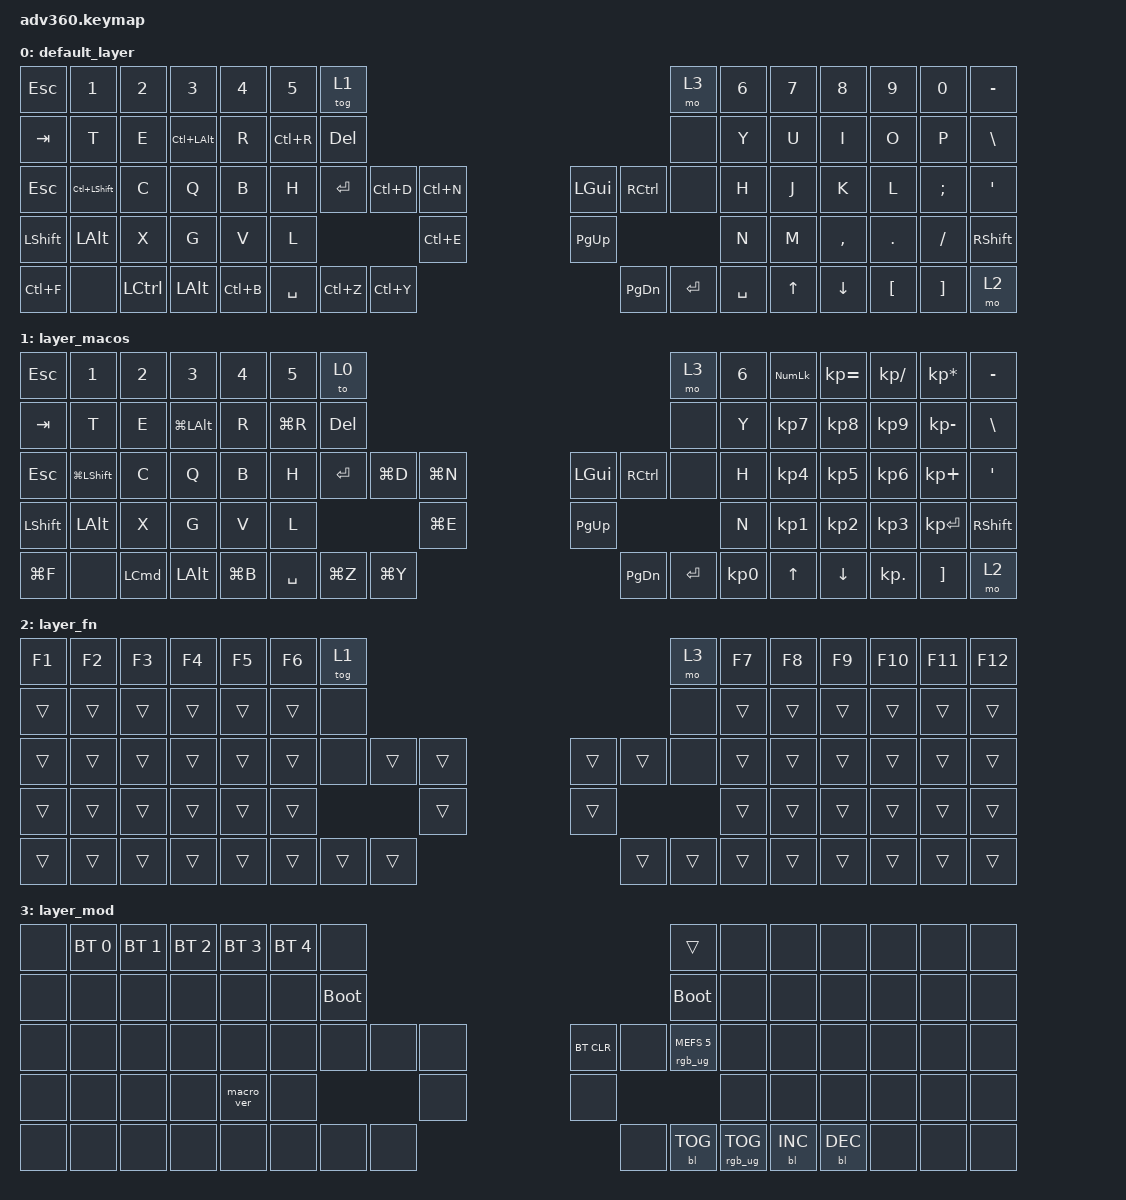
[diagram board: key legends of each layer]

/*
 * Copyright (c) 2020 The ZMK Contributors
 *
 * SPDX-License-Identifier: MIT
 */


/* THIS FILE WAS GENERATED!
 *
 * This file was generated automatically. You may or may not want to
 * edit it directly.
 */

#include <behaviors.dtsi>
#include <dt-bindings/zmk/keys.h>
#include <dt-bindings/zmk/bt.h>
#include <dt-bindings/zmk/rgb.h>
#include <dt-bindings/zmk/backlight.h>

/ {
  behaviors {
    #include "macros.dtsi"
    #include "version.dtsi"

    hm: homerow_mods {
        compatible = "zmk,behavior-hold-tap";
        label = "HOMEROW_MODS";
        #binding-cells = <2>;
        tapping-term-ms = <200>;
        quick_tap_ms = <175>;
        flavor = "tap-preferred";
        bindings = <&kp>, <&kp>;
    };
  };

    keymap {
        compatible = "zmk,keymap";


        default_layer {
            bindings = <
   &kp ESC             &kp N1     &kp N2           &kp N3            &kp N4             &kp N5               &tog 1                                                                                      &mo 3  &kp N6  &kp N7     &kp N8    &kp N9    &kp N0  &kp MINUS
   &kp TAB              &kp T      &kp E     &kp LC(LALT)             &kp R          &kp LC(R)              &kp DEL                                                                                      &none   &kp Y   &kp U      &kp I     &kp O     &kp P   &kp BSLH
   &kp ESC     &kp LC(LSHIFT)      &kp C            &kp Q             &kp B              &kp H            &kp ENTER      &kp LC(D)      &kp LC(N)                   &kp LGUI  &kp RCTRL      &none   &kp H   &kp J      &kp K     &kp L  &kp SEMI    &kp SQT
 &kp LSHFT       &kp LEFT_ALT      &kp X            &kp G             &kp V              &kp L                                          &kp LC(E)                  &kp PG_UP                         &kp N   &kp M  &kp COMMA   &kp DOT  &kp FSLH  &kp RSHFT
 &kp LC(F)              &none  &kp LCTRL     &kp LEFT_ALT         &kp LC(B)                               &kp SPACE      &kp LC(Z)      &kp LC(Y)                  &kp PG_DN  &kp ENTER  &kp SPACE          &kp UP   &kp DOWN  &kp LBKT  &kp RBKT      &mo 2
            >;
        };

        layer_macos {
            bindings = <
   &kp ESC               &kp N1    &kp N2             &kp N3              &kp N4               &kp N5                &to 0                                                                                          &mo 3  &kp N6  &kp KP_NUM  &kp KP_EQUAL  &kp KP_DIVIDE  &kp KP_MULTIPLY  &kp MINUS
   &kp TAB                &kp T     &kp E       &kp LG(LALT)               &kp R            &kp LG(R)              &kp DEL                                                                                          &none   &kp Y   &kp KP_N7     &kp KP_N8      &kp KP_N9     &kp KP_MINUS   &kp BSLH
   &kp ESC       &kp LG(LSHIFT)     &kp C              &kp Q               &kp B                &kp H            &kp ENTER      &kp LG(D)      &kp LG(N)                   &kp LGUI  &kp RCTRL      &none   &kp H   &kp KP_N4     &kp KP_N5      &kp KP_N6      &kp KP_PLUS    &kp SQT
 &kp LSHFT         &kp LEFT_ALT     &kp X              &kp G               &kp V                &kp L                                          &kp LG(E)                  &kp PG_UP                         &kp N   &kp KP_N1     &kp KP_N2      &kp KP_N3     &kp KP_ENTER  &kp RSHFT
 &kp LG(F)                &none  &kp LCMD       &kp LEFT_ALT           &kp LG(B)                                 &kp SPACE      &kp LG(Z)      &kp LG(Y)                  &kp PG_DN  &kp ENTER  &kp KP_N0              &kp UP      &kp DOWN     &kp KP_DOT         &kp RBKT      &mo 2
            >;
        };

        layer_fn {
            bindings = <
 &kp F1  &kp F2  &kp F3  &kp F4  &kp F5  &kp F6            &tog 1                                                   &mo 3  &kp F7  &kp F8  &kp F9  &kp F10  &kp F11  &kp F12
 &trans  &trans  &trans  &trans  &trans  &trans             &none                                                   &none  &trans  &trans  &trans   &trans   &trans   &trans
 &trans  &trans  &trans  &trans  &trans  &trans             &none  &trans  &trans                  &trans  &trans   &none  &trans  &trans  &trans   &trans   &trans   &trans
 &trans  &trans  &trans  &trans  &trans  &trans                            &trans                  &trans                  &trans  &trans  &trans   &trans   &trans   &trans
 &trans  &trans  &trans  &trans  &trans                    &trans  &trans  &trans                  &trans  &trans  &trans          &trans  &trans   &trans   &trans   &trans
            >;
        };

        layer_mod {
            bindings = <
  &none  &bt BT_SEL 0  &bt BT_SEL 1  &bt BT_SEL 2  &bt BT_SEL 3  &bt BT_SEL 4                  &none                                                                          &trans   &none       &none       &none   &none   &none   &none
  &none         &none         &none         &none         &none         &none            &bootloader                                                                     &bootloader   &none       &none       &none   &none   &none   &none
  &none         &none         &none         &none         &none         &none                  &none   &none   &none                  &bt BT_CLR       &none  &rgb_ug RGB_MEFS_CMD 5   &none       &none       &none   &none   &none   &none
  &none         &none         &none         &none    &macro_ver         &none                                  &none                       &none                                       &none       &none       &none   &none   &none   &none
  &none         &none         &none         &none         &none                                &none   &none   &none                       &none  &bl BL_TOG         &rgb_ug RGB_TOG          &bl BL_INC  &bl BL_DEC   &none   &none   &none
            >;
        };

    };
};
